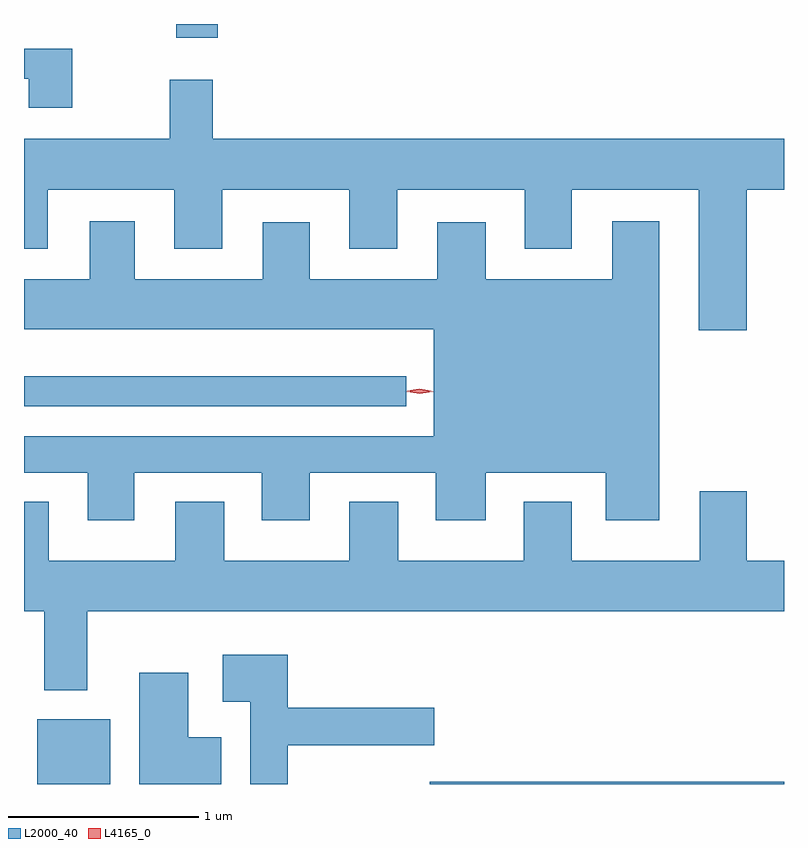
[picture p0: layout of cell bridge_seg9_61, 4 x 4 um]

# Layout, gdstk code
import gdstk
lib = gdstk.Library(unit=1e-6, precision=1e-09)
def R(c, l, rs):  # rectangles x0, y0, x1, y1
    for r in rs: c.add(gdstk.rectangle(r[:2], r[2:], *l))
def P(c, l, *ps):  # polygons
    for p in ps: c.add(gdstk.Polygon(p, *l))
L2000_40 = (2000, 40)
L4165_0 = (4165, 0)

bridge_seg9_61 = lib.new_cell('bridge_seg9_61')
R(bridge_seg9_61, L2000_40, [(1640.526,1946.508,1640.909,1946.849), (1642.591,1946.508,1644.455,1946.519), (1640.455,1948.496,1642.468,1948.654), (1641.256,1950.436,1641.474,1950.508), (1640.906,1950.506,1641.104,1950.508)])
P(bridge_seg9_61, L2000_40, [(1640.709,1950.379),(1640.455,1950.379),(1640.455,1950.221),(1640.481,1950.221),(1640.481,1950.066),(1640.709,1950.066)],
  [(1644.259,1949.636),(1644.455,1949.636),(1644.455,1949.904),(1641.449,1949.904),(1641.449,1950.214),(1641.221,1950.214),(1641.221,1949.904),(1640.455,1949.904),(1640.455,1949.326),(1640.579,1949.326),(1640.579,1949.636),(1641.246,1949.636),(1641.246,1949.326),(1641.499,1949.326),(1641.499,1949.636),(1642.166,1949.636),(1642.166,1949.326),(1642.419,1949.326),(1642.419,1949.636),(1643.091,1949.636),(1643.091,1949.326),(1643.339,1949.326),(1643.339,1949.636),(1644.006,1949.636),(1644.006,1948.896),(1644.259,1948.896)],
  [(1641.034,1948.146),(1641.706,1948.146),(1641.706,1947.896),(1641.959,1947.896),(1641.959,1948.146),(1642.621,1948.146),(1642.621,1947.896),(1642.884,1947.896),(1642.884,1948.146),(1643.516,1948.146),(1643.516,1947.896),(1643.799,1947.896),(1643.799,1949.469),(1643.551,1949.469),(1643.551,1949.164),(1642.884,1949.164),(1642.884,1949.464),(1642.631,1949.464),(1642.631,1949.164),(1641.959,1949.164),(1641.959,1949.464),(1641.711,1949.464),(1641.711,1949.164),(1641.039,1949.164),(1641.039,1949.469),(1640.801,1949.469),(1640.801,1949.164),(1640.455,1949.164),(1640.455,1948.901),(1642.611,1948.901),(1642.611,1948.339),(1640.455,1948.339),(1640.455,1948.146),(1640.791,1948.146),(1640.791,1947.896),(1641.034,1947.896)],
  [(1640.789,1947.416),(1644.455,1947.416),(1644.455,1947.684),(1644.259,1947.684),(1644.259,1948.049),(1644.011,1948.049),(1644.011,1947.684),(1643.339,1947.684),(1643.339,1947.994),(1643.086,1947.994),(1643.086,1947.684),(1642.424,1947.684),(1642.424,1947.994),(1642.166,1947.994),(1642.166,1947.684),(1641.509,1947.684),(1641.509,1947.994),(1641.251,1947.994),(1641.251,1947.684),(1640.584,1947.684),(1640.584,1947.994),(1640.455,1947.994),(1640.455,1947.416),(1640.561,1947.416),(1640.561,1947.001),(1640.789,1947.001)],
  [(1641.844,1946.711),(1642.614,1946.711),(1642.614,1946.909),(1641.844,1946.909),(1641.844,1947.189),(1641.501,1947.189),(1641.501,1946.941),(1641.646,1946.941),(1641.646,1946.508),(1641.844,1946.508)],
  [(1641.494,1946.754),(1641.319,1946.754),(1641.319,1947.094),(1641.061,1947.094),(1641.061,1946.508),(1641.494,1946.508)])
P(bridge_seg9_61, L4165_0, [(1642.539,1948.563),(1642.47,1948.572),(1642.469,1948.573),(1642.47,1948.573),(1642.539,1948.583),(1642.607,1948.573),(1642.608,1948.573),(1642.607,1948.572)],
  [(1642.535,1948.569),(1642.473,1948.578),(1642.473,1948.578),(1642.473,1948.579),(1642.535,1948.589),(1642.598,1948.579),(1642.598,1948.579),(1642.598,1948.578)])

lib.write_gds('bridge_seg9_61.gds')
